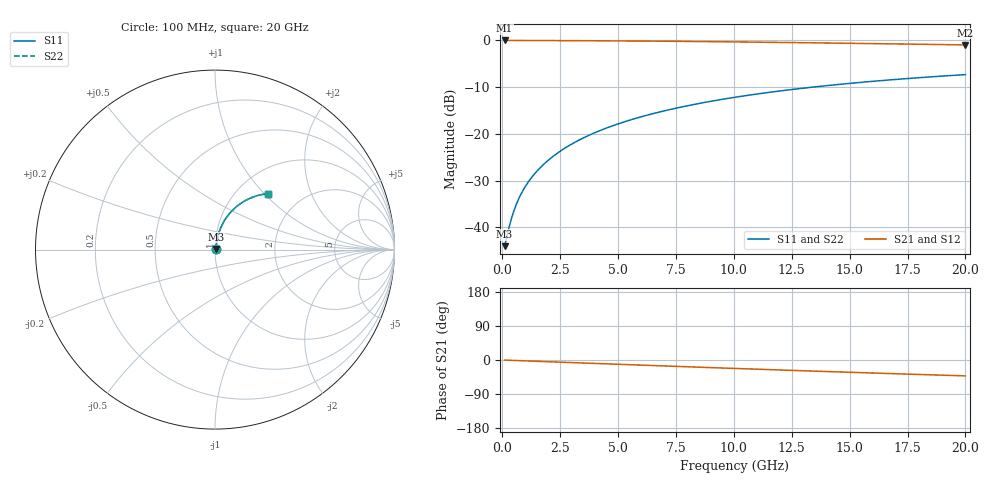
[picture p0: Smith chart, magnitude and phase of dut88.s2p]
! Touchstone file exported from HFSS 2026.1.0
!  File:  C:/ffzhzh/LocalFiles/Ansys_Project_Files/temp_train_BSMRDL_88_1782883205_42304.aedt
!  Generated:  01:21:20 PM Jul  1, 2026
!  Design:  BSMRDL
!  Project:  temp_train_BSMRDL_88_1782883205_42304
! Variables:
!  h_bsmrdl = 2.17um
!  h_ox = 20um
!  h_rdl = 5um
!  h_sub = 80um
!  h_tmrdl = 5um
!  h_tsv = 80um
!  h_via = 3um
!  l_bsmrdl = 575.22um
!  l_sub = 975.22um
!  l_tmrdl = 200um
!  m_sub = 200um
!  pitch = 45um
!  r_tsv = 6um
!  s_tmrdl = 10um
!  w_bsmrdl = 17.3um
!  w_sub = 500um
!  w_tmrdl = 12um
!  x_tsv_center1 = 206um
!  x_tsv_center2 = 798.52um
!  x_tsv_center3 = 1010.52um
!  x_tsv_center4 = 1603.04um
!  x_tsv_center5 = 1815.04um
!  x_tsv_center6 = 2407.56um
# GHz S MA R 50.000000
! Terminal data exported
! Port[1] = BSM_RDL1_1_T1
! Port[2] = BSM_RDL1_1_T2
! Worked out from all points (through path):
!   200 points, 100 MHz to 20 GHz, reference 50 ohm
!   highest |S21| = -0.05 dB at 100 MHz (marker M1); lowest = -1.0 dB at 20 GHz (marker M2)
!   group delay of S21, straight-line fit = 5.84 ps
!   lowest |S11| = -44.0 dB at 100 MHz (marker M3), VSWR 1.01, Z = 50.6 + j0.281 ohm
!   |S11| at or under -10 dB: start of sweep to 13.45 GHz
!   |S22| runs from -44.0 to -7.4 dB; largest |S21 - S12| = 2.7e-15
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0.1  0.006288 26.2  0.9944 -0.2  0.9944 -0.2  0.006288 26.2
! Gamma 0 0 0 0
! Port Impedance 50 0 50 0
0.3  0.01015 54.3  0.9941 -0.7  0.9941 -0.7  0.01015 54.3
0.4  0.01253 60.7  0.994 -1.0  0.994 -1.0  0.01253 60.7
0.5  0.01498 64.8  0.9938 -1.2  0.9938 -1.2  0.01498 64.8
0.6  0.01747 67.6  0.9936 -1.4  0.9936 -1.4  0.01747 67.6
0.7  0.01996 69.7  0.9934 -1.6  0.9934 -1.6  0.01996 69.7
0.9  0.02495 72.6  0.9931 -2.1  0.9931 -2.1  0.02495 72.6
1.2  0.03245 75.0  0.9927 -2.8  0.9927 -2.8  0.03245 75.0
1.4  0.03745 76.0  0.9924 -3.2  0.9924 -3.2  0.03745 76.0
1.7  0.04498 77.0  0.9919 -3.9  0.9919 -3.9  0.04498 77.0
2.2  0.05756 77.7  0.9911 -5.0  0.9911 -5.0  0.05756 77.7
2.8  0.07268 77.7  0.99 -6.4  0.99 -6.4  0.07268 77.8
3.5  0.09026 77.2  0.9884 -8.0  0.9884 -8.0  0.09026 77.2
4.2  0.1077 76.3  0.9865 -9.5  0.9865 -9.5  0.1077 76.3
5  0.1276 75.1  0.9839 -11.3  0.9839 -11.3  0.1276 75.1
5.9  0.1495 73.5  0.9806 -13.3  0.9806 -13.3  0.1495 73.5
6.8  0.1712 71.9  0.9769 -15.3  0.9769 -15.3  0.1712 71.9
8.3  0.2063 69.0  0.9697 -18.6  0.9697 -18.6  0.2063 69.0
10.1  0.2467 65.4  0.9597 -22.4  0.9597 -22.4  0.2467 65.4
13.4  0.3153 58.8  0.9386 -29.3  0.9386 -29.3  0.3153 58.9
16.7  0.376 52.5  0.9153 -35.7  0.9153 -35.7  0.376 52.5
20  0.4289 46.5  0.8913 -41.9  0.8913 -41.9  0.4289 46.5
